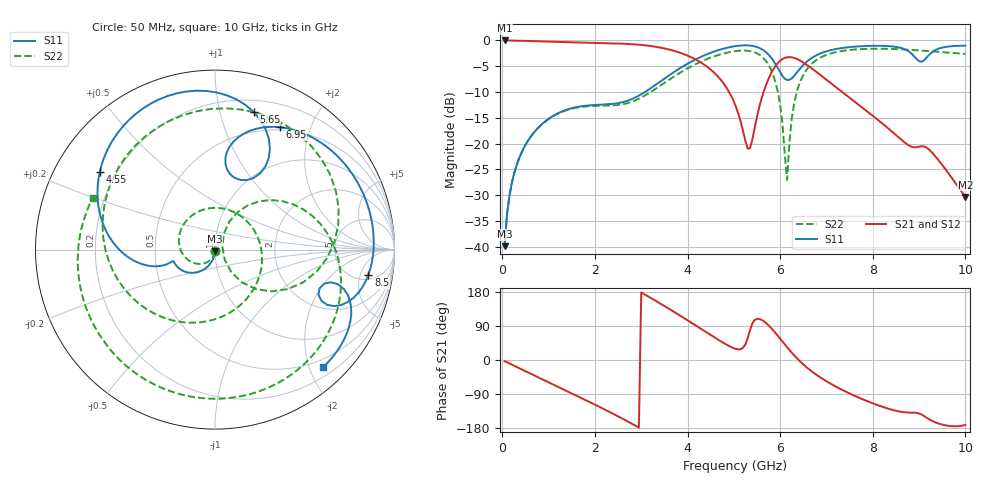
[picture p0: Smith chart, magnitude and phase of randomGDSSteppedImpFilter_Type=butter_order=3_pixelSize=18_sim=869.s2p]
! freq	dB(S11)	phase(S11)	dB(S12)	phase(S12)
!  dB(S21)	phase(S21)	dB(S22)	phase(S22)
!S-par simulation data
#  GHz  S  DB  R 50
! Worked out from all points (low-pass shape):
!   200 points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, 50 MHz to 10 GHz, reference 50 ohm
!   highest |S21| = 0.00 dB at 50 MHz (marker M1); lowest = -30.4 dB at 10 GHz (marker M2)
!   |S21| within 3 dB of the highest: start of sweep to 4.016 GHz
!   lowest |S11| = -39.9 dB at 50 MHz (marker M3), VSWR 1.02, Z = 50 - j1.01 ohm
!   |S11| at or under -10 dB: start of sweep to 3.08 GHz
!   |S22| runs from -39.9 to -1.6 dB; largest |S21 - S12| = 0
!   S11 on the Smith chart (normalised r, x): 50 MHz: 1.00, -0.02; 4.55 GHz: 0.14, +0.30; 5.65 GHz: 0.30, +1.27; 6.95 GHz: 0.46, +1.56; 8.5 GHz: 6.07, -6.86; 10 GHz: 0.35, -2.23
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0.05  -39.88 -91.8  -0.00 -3.0  -0.00 -3.0  -39.89 -93.4
0.2  -27.89 -98.9  -0.03 -11.9  -0.03 -11.9  -27.91 -105.1
0.5  -20.25 -112.1  -0.08 -29.5  -0.08 -29.5  -20.27 -128.0
1.75  -12.71 -156.3  -0.42 -102.6  -0.42 -102.6  -12.84 129.5
2.65  -11.84 -164.0  -0.65 -158.4  -0.65 -158.4  -12.28 25.5
3.4  -8.03 -167.4  -1.36 149.8  -1.36 149.8  -8.82 -77.3
3.95  -4.77 175.0  -2.76 108.7  -2.76 108.7  -5.67 -145.0
4.55  -2.23 146.2  -6.04 62.1  -6.04 62.1  -3.17 144.9
5.05  -1.08 117.0  -12.98 29.1  -12.98 29.1  -2.05 85.4
5.35  -1.00 96.8  -20.90 79.5  -20.90 79.5  -2.08 46.9
5.65  -1.97 74.4  -9.78 101.9  -9.78 101.9  -3.52 3.6
5.95  -5.36 58.8  -4.38 63.9  -4.38 63.9  -9.98 -44.0
6.15  -7.68 70.0  -3.26 33.7  -3.26 33.7  -27.04 23.2
6.3  -6.88 81.6  -3.39 12.6  -3.39 12.6  -12.29 59.0
6.7  -3.30 74.2  -5.54 -31.7  -5.54 -31.7  -4.38 13.7
6.95  -2.25 62.1  -7.28 -52.5  -7.28 -52.5  -2.98 -10.0
7.65  -1.18 28.9  -12.16 -96.7  -12.16 -96.7  -1.73 -62.1
8.35  -1.11 -2.4  -17.17 -129.1  -17.17 -129.1  -1.64 -104.6
8.5  -1.25 -9.4  -18.34 -134.1  -18.34 -134.1  -1.68 -113.2
9  -4.02 -23.6  -20.59 -141.1  -20.59 -141.1  -1.93 -141.7
9.3  -2.15 -18.8  -21.92 -161.8  -21.92 -161.8  -2.11 -159.2
10  -1.01 -47.4  -30.35 -171.3  -30.35 -171.3  -2.61 157.1
